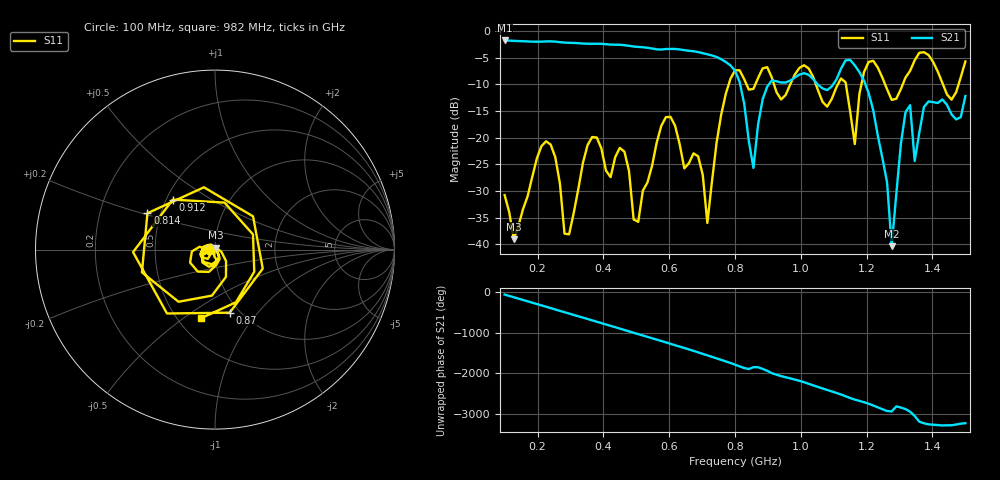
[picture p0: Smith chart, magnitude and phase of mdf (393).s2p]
! NanoVNA-App
! Date: 2025-09-25 15:41:29
! Start: 100MHz Stop: 1,5GHz Points: 101
! S-Parameter data: F S11 S21 S12 S22
# Hz S RI R 50
!  Frequency  S11_Real  S11_Imag  S21_Real  S21_Imag  S12_Real  S12_Imag  S22_Real  S22_Imag
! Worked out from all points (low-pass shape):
!   101 points, 100 MHz to 1.5 GHz, reference 50 ohm
!   highest |S21| = -1.80 dB at 100 MHz (marker M1); lowest = -40.3 dB at 1.276 GHz (marker M2)
!   |S21| within 3 dB of the highest: start of sweep to 739.2 MHz
!   lowest |S11| = -39.0 dB at 128 MHz (marker M3), VSWR 1.02, Z = 50.3 + j1.08 ohm
!   |S11| at or under -10 dB: start of sweep to 781 MHz; 918.4 MHz to 968.1 MHz (49.71 MHz wide, 5.27 % of centre); 1.046 GHz to 1.113 GHz (67.32 MHz wide, 6.24 % of centre) (the widest 3 of 7)
!   S12 and S22 are empty: the file has one direction only
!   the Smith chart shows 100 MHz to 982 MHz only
!   S11 on the Smith chart (normalised r, x): 100 MHz: 0.94, -0.01; 814 MHz: 0.42, +0.21; 870 MHz: 0.90, -0.73; 912 MHz: 0.54, +0.35; 982 MHz: 0.64, -0.58
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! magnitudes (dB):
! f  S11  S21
! 100 MHz  -30.7  -1.8
! 128 MHz  -39.0  -1.9
! 212 MHz  -21.6  -2.0
! 282 MHz  -38.0  -2.2
! 338 MHz  -24.7  -2.4
! 464 MHz  -22.6  -2.7
! 506 MHz  -35.8  -3.0
! 576 MHz  -17.8  -3.5
! 716 MHz  -36.0  -4.4
! 800 MHz  -7.4  -7.5
! 814 MHz  -7.4  -9.6
! 856 MHz  -10.9  -25.7
! 870 MHz  -8.9  -17.6
! 912 MHz  -8.8  -9.3
! 982 MHz  -8.1  -8.7
! 1.038 GHz  -8.7  -9.1
! 1.164 GHz  -21.2  -6.5
! 1.192 GHz  -7.7  -9.3
! 1.276 GHz  -12.9  -40.3
! 1.318 GHz  -8.7  -15.2
! 1.346 GHz  -5.5  -24.4
! 1.5 GHz  -5.7  -12.2
